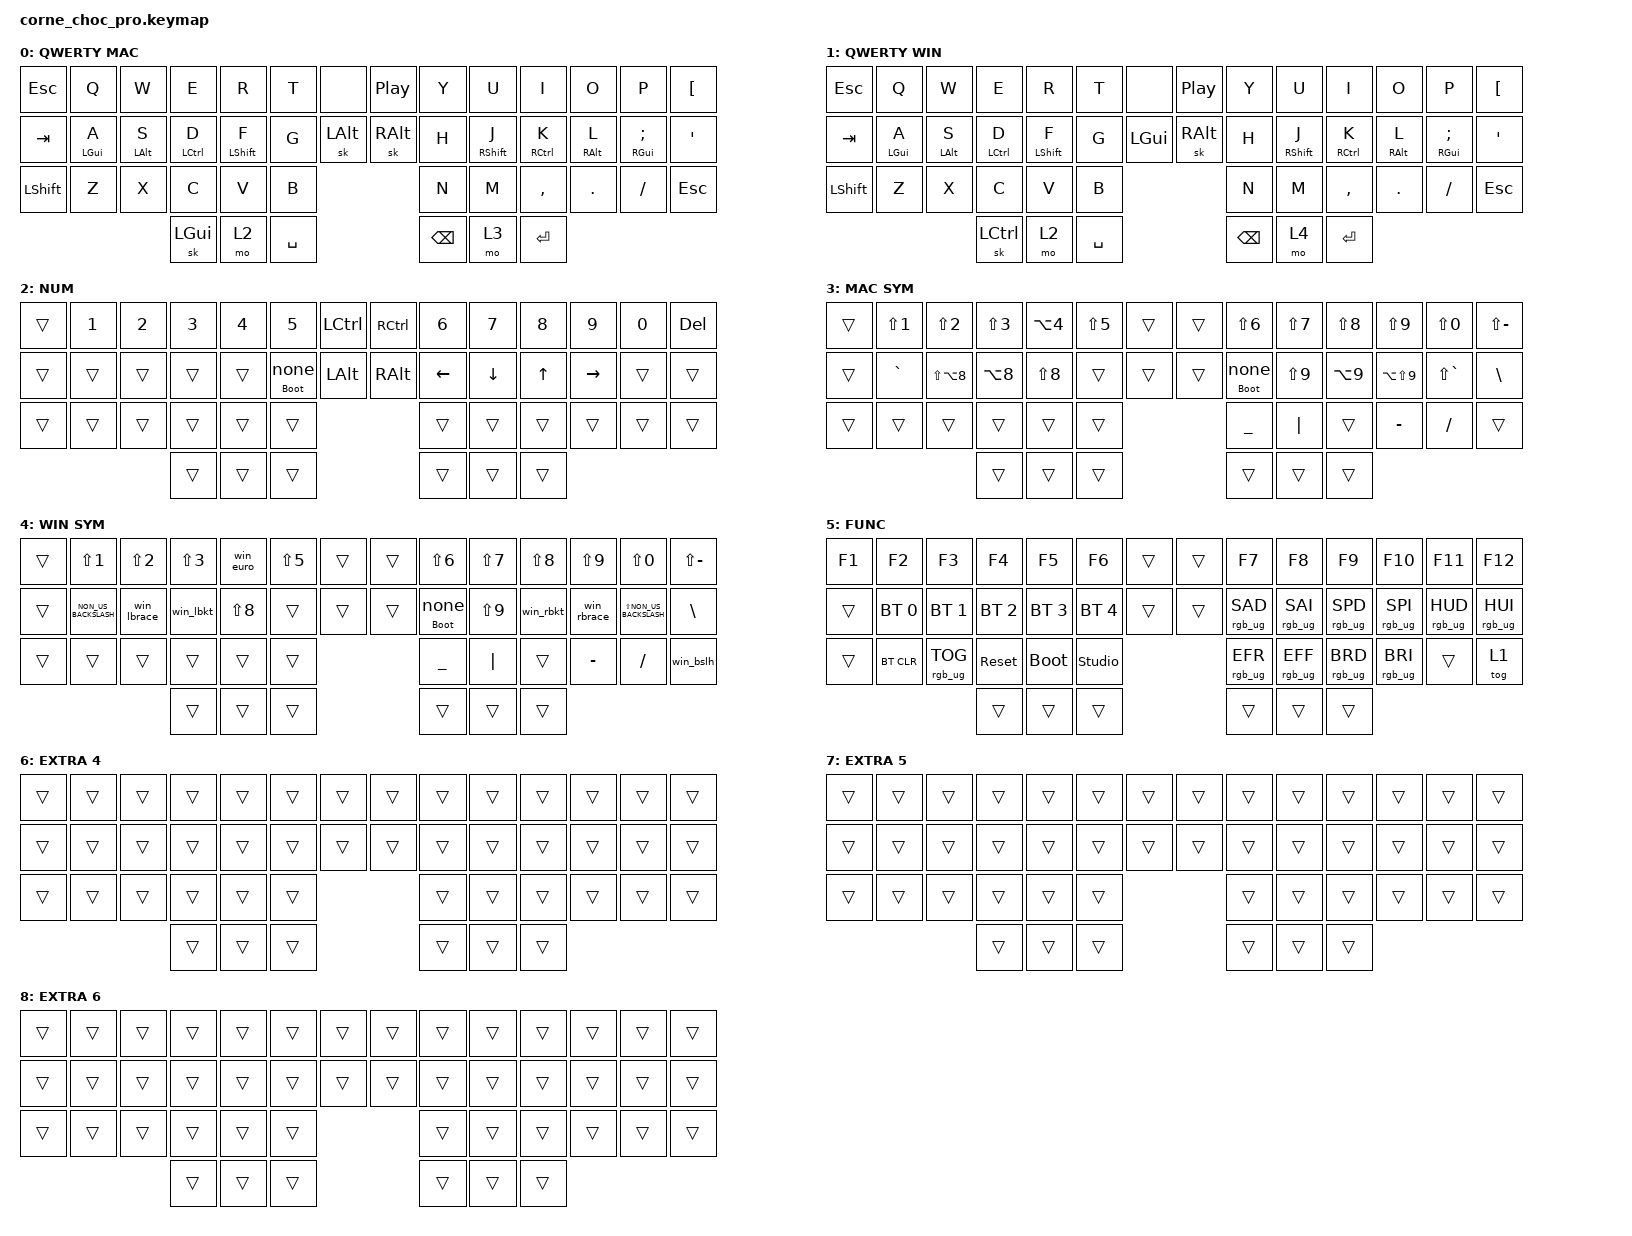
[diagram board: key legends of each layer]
/*
 * Copyright (c) 2020 The ZMK Contributors
 *
 * SPDX-License-Identifier: MIT
 */

#include <behaviors.dtsi>
#include <dt-bindings/zmk/keys.h>
#include <dt-bindings/zmk/bt.h>
#include <dt-bindings/zmk/rgb.h>


/ {
    chosen {
        zmk,physical-layout = &default_layout;
    };
};

/ {
    macros {
        win_euro: win_euro {
            compatible = "zmk,behavior-macro";
            #binding-cells = <0>;
            bindings
                = <&macro_press &kp LALT>
                , <&macro_tap &kp KP_N0 &kp KP_N1 &kp KP_N2 &kp KP_N8>
                , <&macro_release &kp LALT>;
        };
        win_lbrace: win_lbrace {
            compatible = "zmk,behavior-macro";
            #binding-cells = <0>;
            bindings
                = <&macro_press &kp LALT>
                , <&macro_tap &kp KP_N0 &kp KP_N1 &kp KP_N2 &kp KP_N3>
                , <&macro_release &kp LALT>;
        };
        win_lbkt: win_lbkt {
            compatible = "zmk,behavior-macro";
            #binding-cells = <0>;
            bindings
                = <&macro_press &kp LALT>
                , <&macro_tap &kp KP_N0 &kp KP_N0 &kp KP_N9 &kp KP_N1>
                , <&macro_release &kp LALT>;
        };
        win_rbrace: win_rbrace {
            compatible = "zmk,behavior-macro";
            #binding-cells = <0>;
            bindings
                = <&macro_press &kp LALT>
                , <&macro_tap &kp KP_N0 &kp KP_N1 &kp KP_N2 &kp KP_N5>
                , <&macro_release &kp LALT>;
        };
        win_rbkt: win_rbkt {
            compatible = "zmk,behavior-macro";
            #binding-cells = <0>;
            bindings
                = <&macro_press &kp LALT>
                , <&macro_tap &kp KP_N0 &kp KP_N0 &kp KP_N9 &kp KP_N3>
                , <&macro_release &kp LALT>;
        };
        win_bslh: win_bslh {
            compatible = "zmk,behavior-macro";
            #binding-cells = <0>;
            bindings
                = <&macro_press &kp LALT>
                , <&macro_tap &kp KP_N0 &kp KP_N0 &kp KP_N9 &kp KP_N2>
                , <&macro_release &kp LALT>;
        };
    };
};

/ {
    behaviors {
        hml: home_row_mod_left {
            compatible = "zmk,behavior-hold-tap";
            #binding-cells = <2>;
            flavor = "balanced";
            tapping-term-ms = <280>;
            quick-tap-ms = <175>;
            require-prior-idle-ms = <150>;
            bindings = <&kp>, <&kp>;
            hold-trigger-key-positions = <6 7 8 9 10 11 12 13 20 21 22 23 24 25 26 27 34 35 36 37 38 39 43 44 45>;
            hold-trigger-on-release;
        };
        hmr: home_row_mod_right {
            compatible = "zmk,behavior-hold-tap";
            #binding-cells = <2>;
            flavor = "balanced";
            tapping-term-ms = <280>;
            quick-tap-ms = <175>;
            require-prior-idle-ms = <150>;
            bindings = <&kp>, <&kp>;
            hold-trigger-key-positions = <0 1 2 3 4 5 6 7 14 15 16 17 18 19 20 21 28 29 30 31 32 33 40 41 42>;
            hold-trigger-on-release;
        };
        // Hold for 2 s to enter bootloader on the half the key sits on. Tap does nothing.
        hold_boot: hold_bootloader {
            compatible = "zmk,behavior-hold-tap";
            #binding-cells = <2>;
            flavor = "tap-preferred";
            tapping-term-ms = <2000>;
            bindings = <&bootloader>, <&none>;
        };
    };
};

/ {
    conditional_layers {
        compatible = "zmk,conditional-layers";
        mac_fn_layer {
            if-layers = <2 3>;
            then-layer = <5>;
        };
        win_fn_layer {
            if-layers = <2 4>;
            then-layer = <5>;
        };
    };
};

/ {
    combos {
        compatible = "zmk,combos";
        combo_esc {
            timeout-ms = <50>;
            key-positions = <43 44>;
            bindings = <&kp ESC>;
            layers = <0 1>;
        };
    };
};  

/ {
    keymap {
        compatible = "zmk,keymap";

        mac_layer {
            display-name = "QWERTY MAC";
            bindings = <
                &kp ESC   &kp Q &kp W &kp E &kp R &kp T &none &kp C_PP &kp Y &kp U  &kp I     &kp O   &kp P    &kp LBKT
                &kp TAB &hml LGUI A &hml LALT S &hml LCTRL D &hml LSHFT F &kp G &sk LALT   &sk RALT &kp H &hmr RSHFT J  &hmr RCTRL K  &hmr RALT L  &hmr RGUI SEMI &kp SQT
                &kp LSHFT &kp Z &kp X &kp C &kp V &kp B                     &kp N &kp M  &kp COMMA &kp DOT &kp FSLH &kp ESC
                                      &sk LGUI &mo 2 &kp SPACE              &kp BSPC &mo 3 &kp RET
            >;
        };

        win_layer {
            display-name = "QWERTY WIN";
            bindings = <
                &kp ESC   &kp Q &kp W &kp E &kp R &kp T &none &kp C_PP &kp Y &kp U  &kp I     &kp O   &kp P    &kp LBKT
                &kp TAB &hml LGUI A &hml LALT S &hml LCTRL D &hml LSHFT F &kp G &kp LGUI   &sk RALT &kp H &hmr RSHFT J  &hmr RCTRL K  &hmr RALT L  &hmr RGUI SEMI &kp SQT
                &kp LSHFT &kp Z &kp X &kp C &kp V &kp B                     &kp N &kp M  &kp COMMA &kp DOT &kp FSLH &kp ESC
                                            &sk LCTRL &mo 2 &kp SPACE &kp BSPC &mo 4 &kp RET
            >;
        };

        num_layer {
            display-name = "NUM";
            bindings = <
                &trans   &kp N1       &kp N2          &kp N3       &kp N4       &kp N5       &kp LCTRL &kp RCTRL &kp N6   &kp N7   &kp N8 &kp N9    &kp N0 &kp DEL
                &trans &trans &trans &trans &trans &hold_boot 0 0 &kp LALT  &kp RALT  &kp LEFT &kp DOWN &kp UP &kp RIGHT &trans &trans
                &trans &trans &trans &trans &trans &trans                       &trans   &trans   &trans &trans    &trans &trans
                                                            &trans     &trans       &trans                         &trans &trans    &trans
            >;
        };

        mac_sym_layer {
            display-name = "MAC SYM";
            bindings = <
                &trans &kp LS(N1) &kp LS(N2)   &kp LS(N3) &kp LA(N4) &kp LS(N5) &trans &trans &kp LS(N6) &kp LS(N7)  &kp LS(N8) &kp LS(N9) &kp LS(N0) &kp LS(MINUS)
                &trans &kp GRAVE &kp LS(LA(N8)) &kp LA(N8) &kp LS(N8)   &trans &trans    &trans &hold_boot 0 0 &kp LS(N9)    &kp LA(N9)  &kp LA(LS(N9))  &kp LS(GRAVE)  &kp BSLH
                &trans &trans   &trans   &trans   &trans   &trans                      &kp UNDER &kp PIPE &trans  &kp MINUS  &kp FSLH &trans
                                         &trans   &trans   &trans                      &trans    &trans    &trans
            >;
        };

        win_sym_layer{
            display-name = "WIN SYM";
            bindings = <
                &trans &kp LS(N1) &kp LS(N2)   &kp LS(N3)      &win_euro &kp LS(N5) &trans &trans &kp LS(N6) &kp LS(N7)  &kp LS(N8) &kp LS(N9) &kp LS(N0) &kp LS(MINUS)
                &trans &kp NON_US_BACKSLASH &win_lbrace    &win_lbkt  &kp LS(N8)      &trans    &trans &trans   &hold_boot 0 0 &kp LS(N9)  &win_rbkt    &win_rbrace  &kp LS(NON_US_BACKSLASH) &kp BSLH
                &trans &trans   &trans   &trans   &trans   &trans                      &kp UNDER &kp PIPE  &trans &kp MINUS  &kp FSLH &win_bslh
                                         &trans   &trans   &trans                      &trans    &trans    &trans
            >;
        };

        func_layer {
            display-name = "FUNC";
            bindings = <
                &kp F1 &kp F2       &kp F3          &kp F4       &kp F5      &kp F6         &trans &trans &kp F7          &kp F8          &kp F9          &kp F10         &kp F11         &kp F12
                &trans &bt BT_SEL 0 &bt BT_SEL 1    &bt BT_SEL 2 &bt BT_SEL 3 &bt BT_SEL 4 &trans &trans &rgb_ug RGB_SAD &rgb_ug RGB_SAI &rgb_ug RGB_SPD &rgb_ug RGB_SPI &rgb_ug RGB_HUD &rgb_ug RGB_HUI
                &trans &bt BT_CLR   &rgb_ug RGB_TOG &sys_reset   &bootloader &studio_unlock               &rgb_ug RGB_EFR &rgb_ug RGB_EFF &rgb_ug RGB_BRD &rgb_ug RGB_BRI &trans          &tog 1
                                                    &trans &trans &trans                                   &trans &trans &trans
            >;
        };

        extra_layer_4 {
            display-name = "EXTRA 4";
            bindings = <
                &trans &trans &trans &trans &trans &trans &trans &trans &trans &trans &trans &trans &trans &trans
                &trans &trans &trans &trans &trans &trans &trans &trans &trans &trans &trans &trans &trans &trans
                &trans &trans &trans &trans &trans &trans               &trans &trans &trans &trans &trans &trans
                                     &trans &trans &trans               &trans &trans &trans       
            >;
        };

        extra_layer_5 {
            display-name = "EXTRA 5";
            bindings = <
                &trans &trans &trans &trans &trans &trans &trans &trans &trans &trans &trans &trans &trans &trans
                &trans &trans &trans &trans &trans &trans &trans &trans &trans &trans &trans &trans &trans &trans
                &trans &trans &trans &trans &trans &trans               &trans &trans &trans &trans &trans &trans
                                     &trans &trans &trans               &trans &trans &trans       
            >;
        };

        extra_layer_6 {
            display-name = "EXTRA 6";
            bindings = <
                &trans &trans &trans &trans &trans &trans &trans &trans &trans &trans &trans &trans &trans &trans
                &trans &trans &trans &trans &trans &trans &trans &trans &trans &trans &trans &trans &trans &trans
                &trans &trans &trans &trans &trans &trans               &trans &trans &trans &trans &trans &trans
                                     &trans &trans &trans               &trans &trans &trans       
            >;
        };
    };
};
